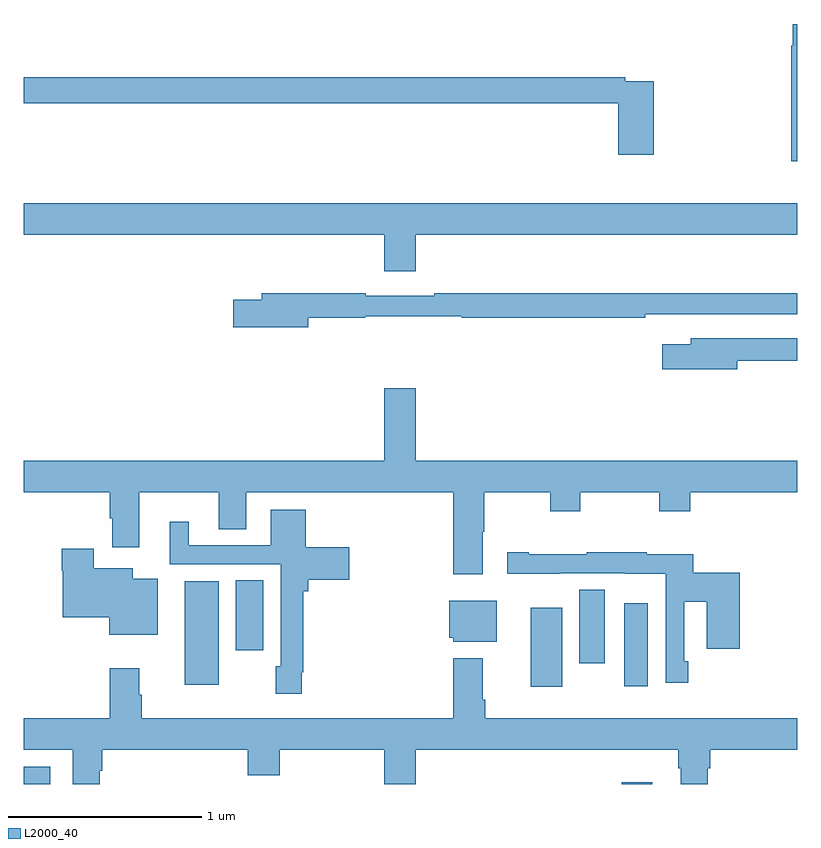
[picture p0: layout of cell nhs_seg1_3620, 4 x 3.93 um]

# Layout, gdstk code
import gdstk
lib = gdstk.Library(unit=1e-6, precision=1e-09)
def R(c, l, rs):  # rectangles x0, y0, x1, y1
    for r in rs: c.add(gdstk.rectangle(r[:2], r[2:], *l))
def P(c, l, *ps):  # polygons
    for p in ps: c.add(gdstk.Polygon(p, *l))
L2000_40 = (2000, 40)

nhs_seg1_3620 = lib.new_cell('nhs_seg1_3620')
R(nhs_seg1_3620, L2000_40, [(307,574.199,307.137,574.287), (310.094,574.199,310.252,574.207), (309.623,574.701,309.784,575.11), (310.106,574.704,310.228,575.134), (307.832,574.712,308.008,575.248), (309.872,574.824,310.006,575.204), (308.096,574.89,308.239,575.252)])
P(nhs_seg1_3620, L2000_40, [(311,578.131),(310.977,578.131),(310.977,578.018),(310.969,578.018),(310.969,577.421),(311,577.421)],
  [(310.259,577.836),(310.112,577.836),(310.112,577.856),(307,577.856),(307,577.72),(310.076,577.72),(310.076,577.455),(310.259,577.455)],
  [(309.028,577.04),(311,577.04),(311,577.204),(307,577.204),(307,577.04),(308.864,577.04),(308.864,576.852),(309.028,576.852)],
  [(308.47,576.61),(308.766,576.61),(308.766,576.618),(309.266,576.618),(309.266,576.61),(310.214,576.61),(310.214,576.63),(311,576.63),(311,576.739),(309.124,576.739),(309.124,576.726),(308.768,576.726),(308.768,576.739),(308.231,576.739),(308.231,576.705),(308.082,576.705),(308.082,576.563),(308.47,576.563)],
  [(310.69,576.388),(311,576.388),(311,576.504),(310.451,576.504),(310.451,576.475),(310.302,576.475),(310.302,576.346),(310.69,576.346)],
  [(309.028,576.247),(308.864,576.247),(308.864,575.872),(307,575.872),(307,575.708),(307.445,575.708),(307.445,575.574),(307.457,575.574),(307.457,575.424),(307.597,575.424),(307.597,575.708),(308.009,575.708),(308.009,575.518),(308.149,575.518),(308.149,575.708),(309.221,575.708),(309.221,575.283),(309.373,575.283),(309.373,575.504),(309.381,575.504),(309.381,575.708),(309.724,575.708),(309.724,575.609),(309.879,575.609),(309.879,575.708),(310.288,575.708),(310.288,575.609),(310.448,575.609),(310.448,575.708),(311,575.708),(311,575.872),(309.028,575.872)],
  [(308.437,574.777),(308.444,574.777),(308.444,575.195),(308.471,575.195),(308.471,575.255),(308.683,575.255),(308.683,575.425),(308.458,575.425),(308.458,575.617),(308.276,575.617),(308.276,575.433),(307.852,575.433),(307.852,575.557),(307.754,575.557),(307.754,575.337),(308.328,575.337),(308.328,574.809),(308.302,574.809),(308.302,574.665),(308.437,574.665)],
  [(307.693,575.26),(307.564,575.26),(307.564,575.314),(307.36,575.314),(307.36,575.416),(307.195,575.416),(307.195,575.303),(307.202,575.303),(307.202,575.063),(307.442,575.063),(307.442,574.97),(307.693,574.97)],
  [(310.436,574.834),(310.416,574.834),(310.416,575.141),(310.532,575.141),(310.532,574.899),(310.703,574.899),(310.703,575.293),(310.463,575.293),(310.463,575.388),(310.223,575.388),(310.223,575.398),(309.913,575.398),(309.913,575.388),(309.613,575.388),(309.613,575.398),(309.501,575.398),(309.501,575.288),(309.776,575.288),(309.776,575.289),(310.11,575.289),(310.11,575.288),(310.32,575.288),(310.32,574.722),(310.436,574.722)],
  [(309.445,575.146),(309.2,575.146),(309.2,574.956),(309.222,574.956),(309.222,574.934),(309.445,574.934)],
  [(307.392,574.267),(307.406,574.267),(307.406,574.376),(308.159,574.376),(308.159,574.243),(308.324,574.243),(308.324,574.376),(308.864,574.376),(308.864,574.199),(309.028,574.199),(309.028,574.376),(310.385,574.376),(310.385,574.28),(310.397,574.28),(310.397,574.199),(310.537,574.199),(310.537,574.28),(310.55,574.28),(310.55,574.376),(311,574.376),(311,574.54),(309.386,574.54),(309.386,574.636),(309.373,574.636),(309.373,574.849),(309.221,574.849),(309.221,574.54),(307.61,574.54),(307.61,574.661),(307.597,574.661),(307.597,574.798),(307.445,574.798),(307.445,574.54),(307,574.54),(307,574.376),(307.253,574.376),(307.253,574.199),(307.392,574.199)])

lib.write_gds('nhs_seg1_3620.gds')
